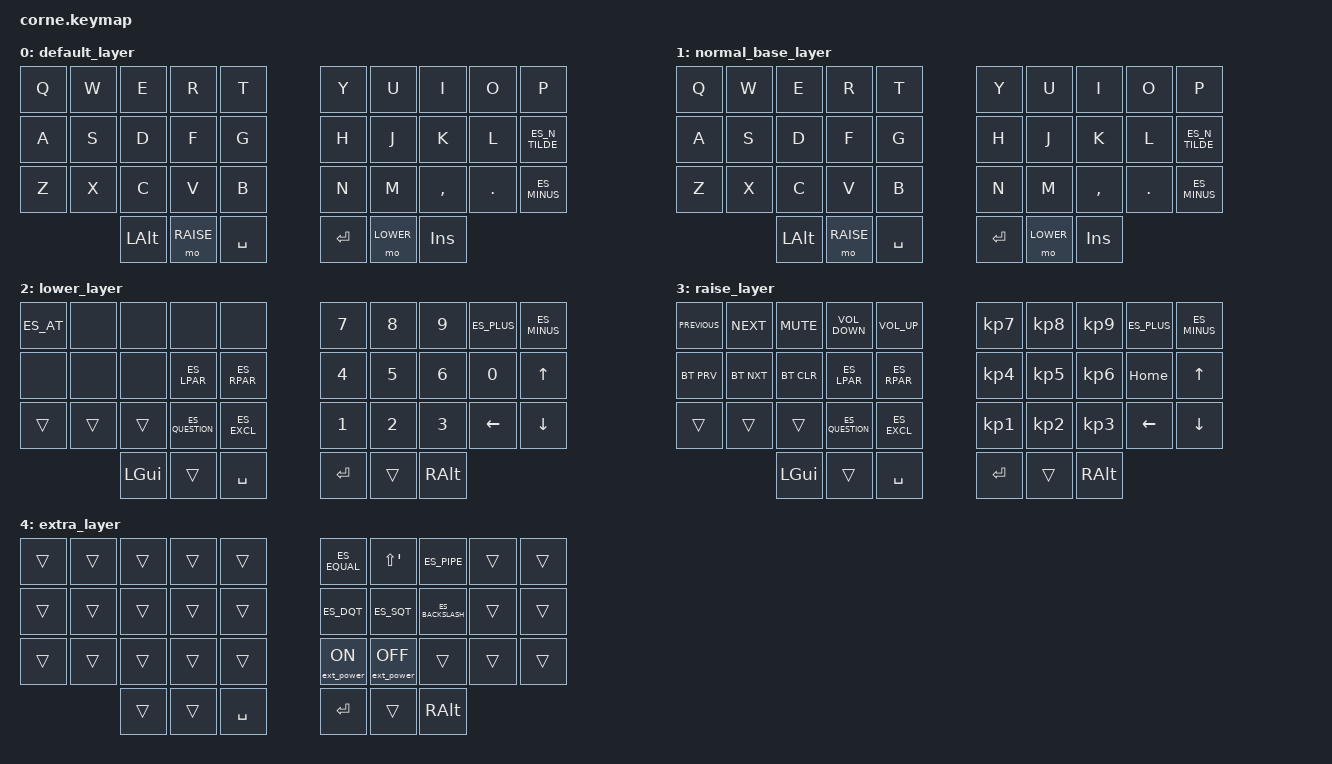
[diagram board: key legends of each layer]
#include <behaviors.dtsi>
#include <dt-bindings/zmk/bt.h>
#include <dt-bindings/zmk/ext_power.h>
#include <dt-bindings/zmk/keys.h>
#include "keys_es_latin_american.h"

#define BASE_TD     0
#define BASE_NORMAL 1
#define LOWER       2
#define RAISE       3
#define EXTRA       4

/ {
    chosen {
        zmk,physical-layout = &foostan_corne_5col_layout;
    };

    combos {
        compatible = "zmk,combos";

        er_less {
            bindings = <&kp ES_LT>;
            key-positions = <2 3>;
        };

        rt_greater {
            bindings = <&kp ES_GT>;
            key-positions = <3 4>;
        };

        yu_plus {
            bindings = <&kp ES_PLUS>;
            key-positions = <5 6>;
        };

        hj_minus {
            bindings = <&kp ES_MINUS>;
            key-positions = <15 16>;
        };

        nm_asterisk {
            bindings = <&kp ES_ASTERISK>;
            key-positions = <25 26>;
        };

        space_enter_base {
            timeout-ms = <100>;
            key-positions = <32 33>;
            layers = <BASE_TD BASE_NORMAL>;
            bindings = <&base_hold BASE_NORMAL 0>;
        };
    };

    behaviors {
        td_lshft_caps: td_lshft_caps {
            compatible = "zmk,behavior-tap-dance";
            label = "TD_LSHFT_CAPS";
            #binding-cells = <0>;
            tapping-term-ms = <200>;
            bindings = <&kp LSHFT>, <&kp CAPS>;
        };

        base_hold: base_hold {
            compatible = "zmk,behavior-hold-tap";
            #binding-cells = <2>;
            flavor = "tap-preferred";
            tapping-term-ms = <2000>;
            bindings = <&tog>, <&none>;
        };
    };

    keymap {
        compatible = "zmk,keymap";

        // 0: Base con tap-dance en Shift.
        default_layer {
            bindings = <
    &kp Q  &kp W  &kp E  &kp R  &kp T  &kp Y  &kp U  &kp I  &kp O  &kp P
    &kp A  &kp S  &kp D  &kp F  &kp G  &kp H  &kp J  &kp K  &kp L  &kp ES_N_TILDE
    &kp Z  &kp X  &kp C  &kp V  &kp B  &kp N  &kp M  &kp COMMA  &kp DOT  &kp ES_MINUS
                   &kp LALT  &mo RAISE  &kp SPACE        &kp RET  &mo LOWER  &kp INSERT
            >;
        };

        // 1: Base con Shift normal.
        normal_base_layer {
            bindings = <
    &kp Q  &kp W  &kp E  &kp R  &kp T  &kp Y  &kp U  &kp I  &kp O  &kp P
    &kp A  &kp S  &kp D  &kp F  &kp G  &kp H  &kp J  &kp K  &kp L  &kp ES_N_TILDE
    &kp Z  &kp X  &kp C  &kp V  &kp B  &kp N  &kp M  &kp COMMA  &kp DOT  &kp ES_MINUS
              &kp LALT  &mo RAISE  &kp SPACE        &kp RET  &mo LOWER  &kp INSERT
            >;
        };

        // 2: Lower. Shift hereda el comportamiento de la base activa.
        lower_layer {
            bindings = <
    &kp ES_AT  &none  &none  &none  &none  &kp N7  &kp N8  &kp N9  &kp ES_PLUS  &kp ES_MINUS
    &none  &none  &none  &kp ES_LPAR  &kp ES_RPAR  &kp N4  &kp N5  &kp N6  &kp N0  &kp UP_ARROW
    &trans  &trans  &trans  &kp ES_QUESTION  &kp ES_EXCL  &kp N1  &kp N2  &kp N3  &kp LEFT_ARROW  &kp DOWN_ARROW
                              &kp LGUI  &trans  &kp SPACE           &kp RET  &trans  &kp RALT
            >;
        };

        // 3: Raise.
        raise_layer {
            bindings = <
    &kp C_PREVIOUS  &kp C_NEXT  &kp C_MUTE  &kp C_VOLUME_DOWN  &kp C_VOLUME_UP  &kp KP_NUMBER_7  &kp KP_NUMBER_8  &kp KP_NUMBER_9  &kp ES_PLUS  &kp ES_MINUS
    &bt BT_PRV  &bt BT_NXT  &bt BT_CLR  &kp ES_LPAR  &kp ES_RPAR  &kp KP_NUMBER_4  &kp KP_NUMBER_5  &kp KP_NUMBER_6  &kp HOME  &kp UP_ARROW
    &trans  &trans  &trans  &kp ES_QUESTION  &kp ES_EXCL  &kp KP_NUMBER_1  &kp KP_NUMBER_2  &kp KP_NUMBER_3  &kp LEFT_ARROW  &kp DOWN_ARROW
                                                &kp LGUI  &trans  &kp SPACE                &kp RET  &trans  &kp RALT
            >;
        };

        // 4: Extra, activa al mantener Lower + Raise.
        extra_layer {
            bindings = <
    &trans  &trans  &trans  &trans  &trans  &kp ES_EQUAL  &kp LS(SQT)  &kp ES_PIPE  &trans  &trans
    &trans  &trans  &trans  &trans  &trans  &kp ES_DQT  &kp ES_SQT  &kp ES_BACKSLASH  &trans  &trans
    &trans  &trans  &trans  &trans  &trans  &ext_power EP_ON  &ext_power EP_OFF  &trans  &trans  &trans
                               &trans  &trans  &kp SPACE    &kp ENTER  &trans  &kp RIGHT_ALT
            >;
        };
    };

    conditional_layers {
        compatible = "zmk,conditional-layers";

        extra_layer {
            if-layers = <LOWER RAISE>;
            then-layer = <EXTRA>;
        };
    };
};
